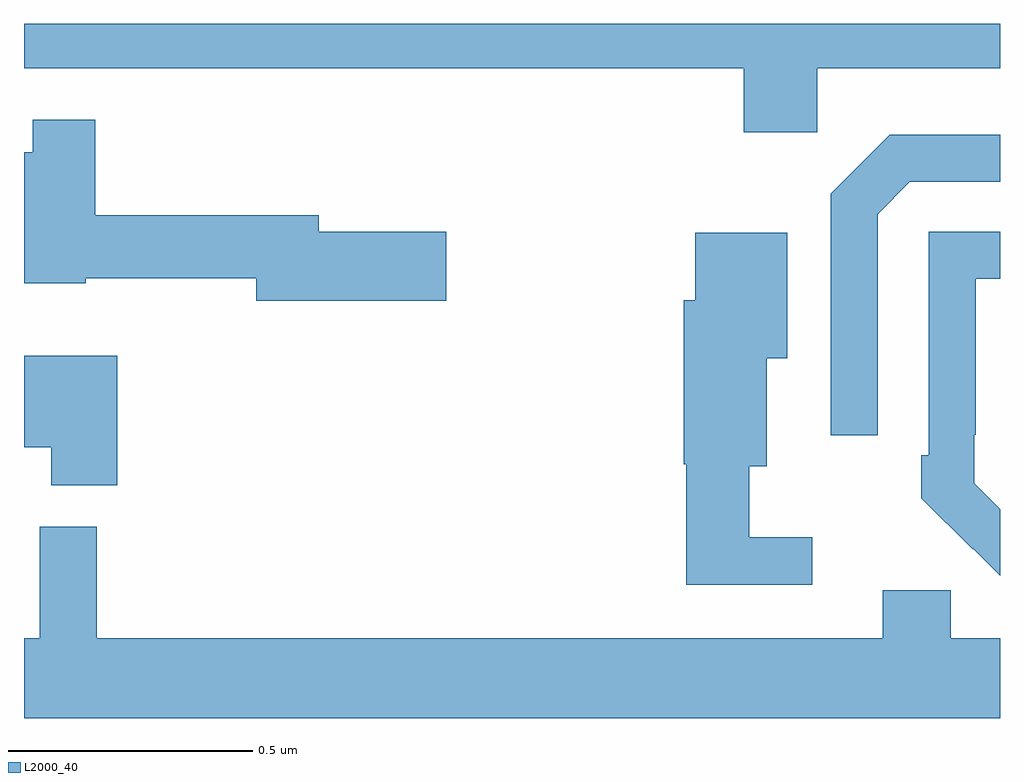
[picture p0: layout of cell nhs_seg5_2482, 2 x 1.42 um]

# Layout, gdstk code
import gdstk
lib = gdstk.Library(unit=1e-6, precision=1e-09)
def P(c, l, *ps):  # polygons
    for p in ps: c.add(gdstk.Polygon(p, *l))
L2000_40 = (2000, 40)

nhs_seg5_2482 = lib.new_cell('nhs_seg5_2482')
P(nhs_seg5_2482, L2000_40, [(145.626,908.708),(146,908.708),(146,908.799),(144,908.799),(144,908.708),(145.475,908.708),(145.475,908.577),(145.626,908.577)],
  [(144.865,908.373),(144.604,908.373),(144.604,908.407),(144.146,908.407),(144.146,908.602),(144.018,908.602),(144.018,908.536),(144,908.536),(144,908.267),(144.127,908.267),(144.127,908.278),(144.476,908.278),(144.476,908.231),(144.865,908.231)],
  [(145.749,908.409),(145.815,908.475),(146,908.475),(146,908.572),(145.774,908.572),(145.653,908.451),(145.653,907.956),(145.749,907.956)],
  [(146,907.804),(145.947,907.857),(145.947,907.957),(145.95,907.957),(145.95,908.277),(146,908.277),(146,908.373),(145.854,908.373),(145.854,907.915),(145.839,907.915),(145.839,907.827),(145.944,907.722),(145.945,907.723),(146,907.668)],
  [(145.615,907.747),(145.486,907.747),(145.486,907.892),(145.522,907.892),(145.522,908.114),(145.564,908.114),(145.564,908.371),(145.376,908.371),(145.376,908.232),(145.352,908.232),(145.352,907.896),(145.357,907.896),(145.357,907.65),(145.615,907.65)],
  [(144.191,908.119),(144,908.119),(144,907.931),(144.056,907.931),(144.056,907.853),(144.191,907.853)],
  [(146,907.54),(145.899,907.54),(145.899,907.638),(145.76,907.638),(145.76,907.54),(144.149,907.54),(144.149,907.768),(144.032,907.768),(144.032,907.54),(144,907.54),(144,907.376),(146,907.376)])

lib.write_gds('nhs_seg5_2482.gds')
